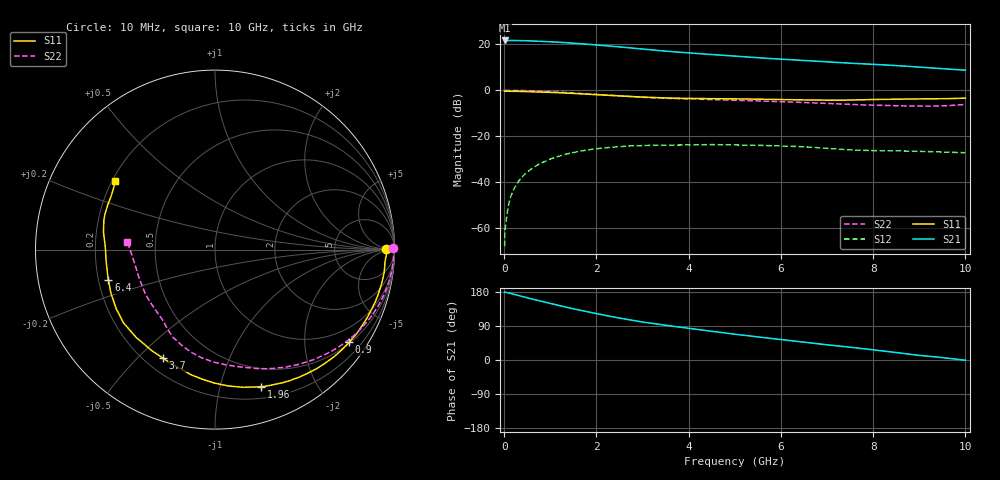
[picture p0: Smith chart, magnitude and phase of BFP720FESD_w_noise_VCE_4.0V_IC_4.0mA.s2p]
! Infineon Technologies  Discrete & RF Semiconductors
! BFP720FESD
! VCE =  4.0 V,  IC =  4.0 mA
! Common Emitter S-Parameters:  Jan 2016
# GHz  S  MA  R  50
!  f  S11  S21  S12  S22
! GHz  MAG  ANG  MAG  ANG  MAG  ANG  MAG  ANG
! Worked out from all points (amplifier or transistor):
!   233 points, 10 MHz to 10 GHz, reference 50 ohm
!   highest |S21| = 21.7 dB at 10 MHz (marker M1)
!   |S21| within 3 dB of that: start of sweep to 2.604 GHz
!   unconditionally stable (mu >= 1): start of sweep to 10.9 MHz; 7.358 GHz to end of sweep
!   at 200 MHz: K = 0.08, MSG = 32.7 dB, |S12| = -43.6 dB
!   at 1.74 GHz: K = 0.17, MSG = 23.2 dB, |S12| = -26.2 dB
!   at 10 GHz: K = 1.53, MAG = 13.7 dB, |S12| = -27.2 dB
!   lowest NFmin = 0.48 dB at 450 MHz
!   S11 on the Smith chart (normalised r, x): 10 MHz: 40, +4; 900 MHz: 0.53, -3.13; 1.96 GHz: 0.31, -1.35; 3.7 GHz: 0.27, -0.60; 6.4 GHz: 0.24, -0.13; 10 GHz: 0.21, +0.30
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0.01  0.9516 0.3  12.18 179.2  0.0004 19.8  0.9895 0.6
0.02  0.9517 -0.7  12.11 179.1  0.0009 66.3  0.9948 -0.5
0.07  0.9528 -2.7  12.09 177.7  0.0023 76.8  0.9953 -1.8
0.22  0.9501 -8.6  12.14 173.1  0.0073 80.7  0.9929 -5.8
0.5  0.9364 -19.5  11.99 164.3  0.0165 75.8  0.9791 -13.3
0.9  0.9085 -34.6  11.54 152.3  0.0287 66.4  0.9455 -23.6
1.22  0.8802 -46.4  11.1 142.9  0.0375 58.8  0.9096 -31.8
1.4  0.8618 -52.9  10.81 137.8  0.0419 54.5  0.8868 -36.3
1.68  0.8337 -62.5  10.32 130.3  0.0477 48.2  0.8506 -42.9
1.96  0.8057 -71.3  9.789 123.3  0.0524 42.5  0.816 -49.3
2.4  0.7637 -84.3  8.999 112.9  0.0583 34.3  0.7647 -58.8
2.78  0.7273 -94.9  8.302 104.7  0.0615 27.8  0.7235 -66.5
3  0.7104 -100.7  7.931 100.2  0.0627 24.2  0.7032 -70.5
3.4  0.6832 -109.4  7.273 93.4  0.0636 19.5  0.6752 -76.2
3.7  0.6708 -115.6  6.87 88.5  0.0642 16.3  0.6595 -80.1
4.5  0.6575 -131.9  6.014 75.7  0.0654 8.6  0.6272 -90.6
5.1  0.6497 -142.9  5.434 66.7  0.0643 3.2  0.6027 -98.3
6.4  0.6173 -164.1  4.531 48.5  0.0592 -6.4  0.5456 -114.3
6.8  0.6108 -170.6  4.286 43.0  0.0561 -8.4  0.5262 -118.7
8.4  0.6404 165.1  3.499 21.1  0.0481 -5.7  0.4628 -143.7
9  0.6474 157.2  3.207 12.2  0.0466 -5.6  0.4518 -159.3
10  0.6735 145.5  2.735 -0.7  0.0435 -2.9  0.4914 174.9
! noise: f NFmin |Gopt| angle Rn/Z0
0.45  0.48  0.63  3  0.17
2.4  0.67  0.42  32  0.16
5.5  0.83  0.43  107  0.11
10  1.44  0.35  -164  0.09
